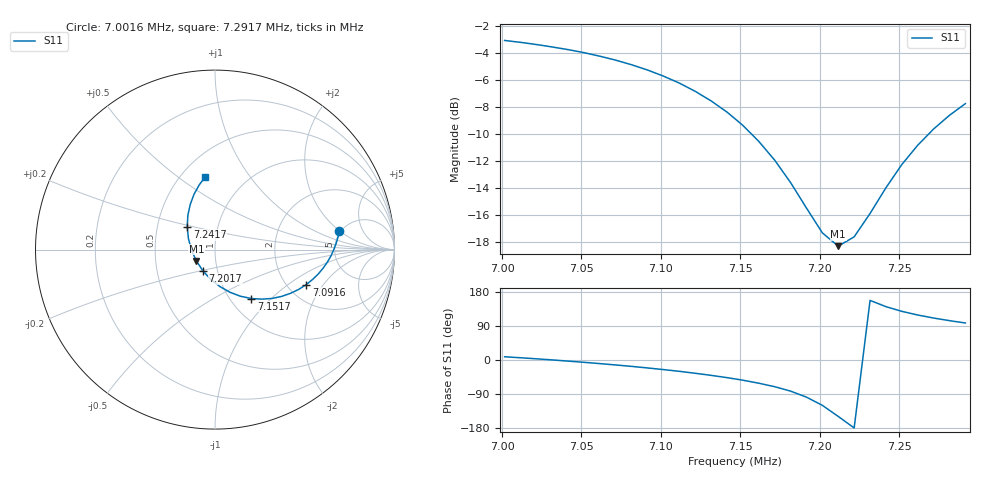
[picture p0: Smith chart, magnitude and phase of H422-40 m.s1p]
# HZ S RI R 50
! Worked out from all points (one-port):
!   30 points, 7.0016 MHz to 7.2917 MHz, reference 50 ohm
!   lowest |S11| = -18.3 dB at 7.2117 MHz (marker M1), VSWR 1.28, Z = 40.3 - j5.12 ohm
!   |S11| at or under -10 dB: 7.1569 MHz to 7.2687 MHz (111.8 kHz wide, 1.55 % of centre)
!   S11 on the Smith chart (normalised r, x): 7.0016 MHz: 4.83, +1.98; 7.0916 MHz: 2.51, -1.39; 7.1517 MHz: 1.25, -0.77; 7.2017 MHz: 0.85, -0.20; 7.2417 MHz: 0.71, +0.19; 7.2917 MHz: 0.65, +0.63
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7001600  0.6926 0.1046
7021608  0.6756 0.0369
7041616  0.6471 -0.0332
7051620  0.6277 -0.0673
7061624  0.6039 -0.1014
7071628  0.5766 -0.1345
7081632  0.5448 -0.1655
7091636  0.5082 -0.1952
7101640  0.4672 -0.2213
7111644  0.4221 -0.243
7121648  0.3718 -0.2607
7131652  0.3179 -0.2721
7141656  0.2619 -0.276
7151660  0.2028 -0.2725
7161664  0.1423 -0.2601
7171668  0.0844 -0.2381
7181672  0.0285 -0.2068
7191676  -0.0235 -0.1663
7201680  -0.0675 -0.1181
7211684  -0.1041 -0.0626
7221688  -0.1316 -0.0014
7231692  -0.1481 0.0618
7241696  -0.1547 0.1265
7251700  -0.1513 0.1909
7261704  -0.1379 0.2517
7271708  -0.1168 0.3082
7281712  -0.0884 0.3597
7291716  -0.0547 0.4053
